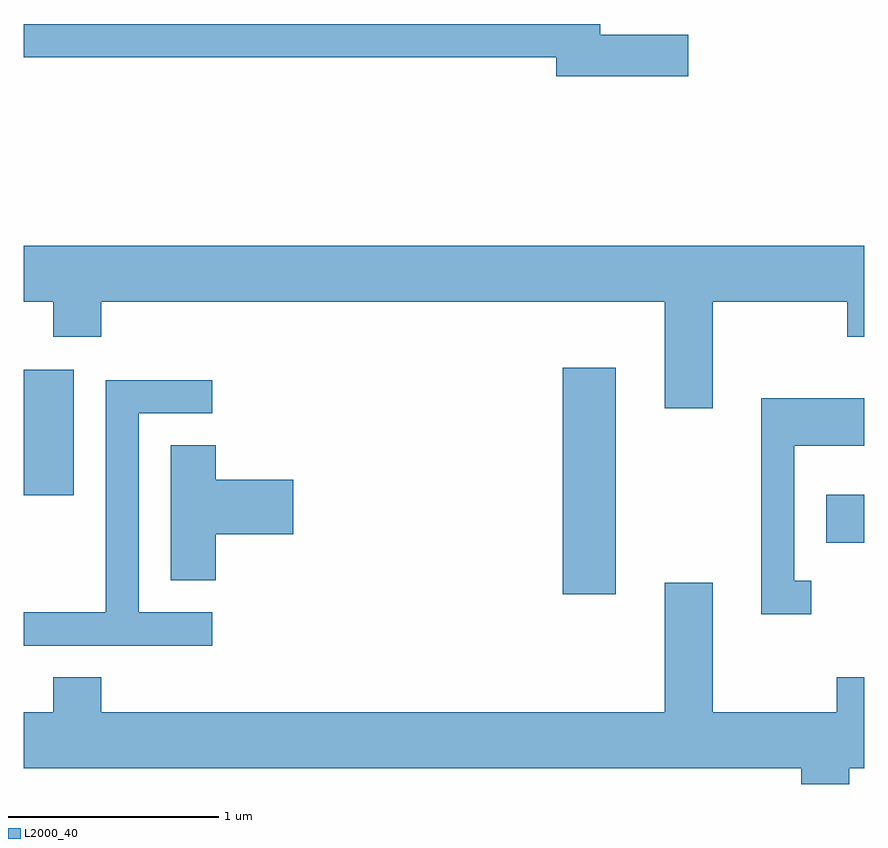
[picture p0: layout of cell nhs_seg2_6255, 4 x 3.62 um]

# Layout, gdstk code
import gdstk
lib = gdstk.Library(unit=1e-6, precision=1e-09)
def R(c, l, rs):  # rectangles x0, y0, x1, y1
    for r in rs: c.add(gdstk.rectangle(r[:2], r[2:], *l))
def P(c, l, *ps):  # polygons
    for p in ps: c.add(gdstk.Polygon(p, *l))
L2000_40 = (2000, 40)

nhs_seg2_6255 = lib.new_cell('nhs_seg2_6255')
R(nhs_seg2_6255, L2000_40, [(372.176,1044.706,372.429,1045.784), (373.431,1044.951,373.611,1045.179), (369.611,1045.176,369.849,1045.774)])
P(nhs_seg2_6255, L2000_40, [(372.774,1047.369),(372.354,1047.369),(372.354,1047.419),(369.611,1047.419),(369.611,1047.261),(372.146,1047.261),(372.146,1047.171),(372.774,1047.171)],
  [(372.889,1046.096),(373.531,1046.096),(373.531,1045.931),(373.611,1045.931),(373.611,1046.364),(369.611,1046.364),(369.611,1046.096),(369.751,1046.096),(369.751,1045.931),(369.979,1045.931),(369.979,1046.096),(372.661,1046.096),(372.661,1045.591),(372.889,1045.591)],
  [(370.508,1044.619),(370.159,1044.619),(370.159,1045.566),(370.508,1045.566),(370.508,1045.724),(370.001,1045.724),(370.001,1044.619),(369.611,1044.619),(369.611,1044.461),(370.508,1044.461)],
  [(373.358,1044.769),(373.279,1044.769),(373.279,1045.411),(373.611,1045.411),(373.611,1045.639),(373.121,1045.639),(373.121,1044.611),(373.358,1044.611)],
  [(370.524,1044.991),(370.894,1044.991),(370.894,1045.249),(370.524,1045.249),(370.524,1045.414),(370.311,1045.414),(370.311,1044.771),(370.524,1044.771)],
  [(373.539,1043.876),(373.611,1043.876),(373.611,1044.309),(373.481,1044.309),(373.481,1044.144),(372.889,1044.144),(372.889,1044.759),(372.661,1044.759),(372.661,1044.144),(369.979,1044.144),(369.979,1044.309),(369.751,1044.309),(369.751,1044.144),(369.611,1044.144),(369.611,1043.876),(373.311,1043.876),(373.311,1043.802),(373.539,1043.802)])

lib.write_gds('nhs_seg2_6255.gds')
